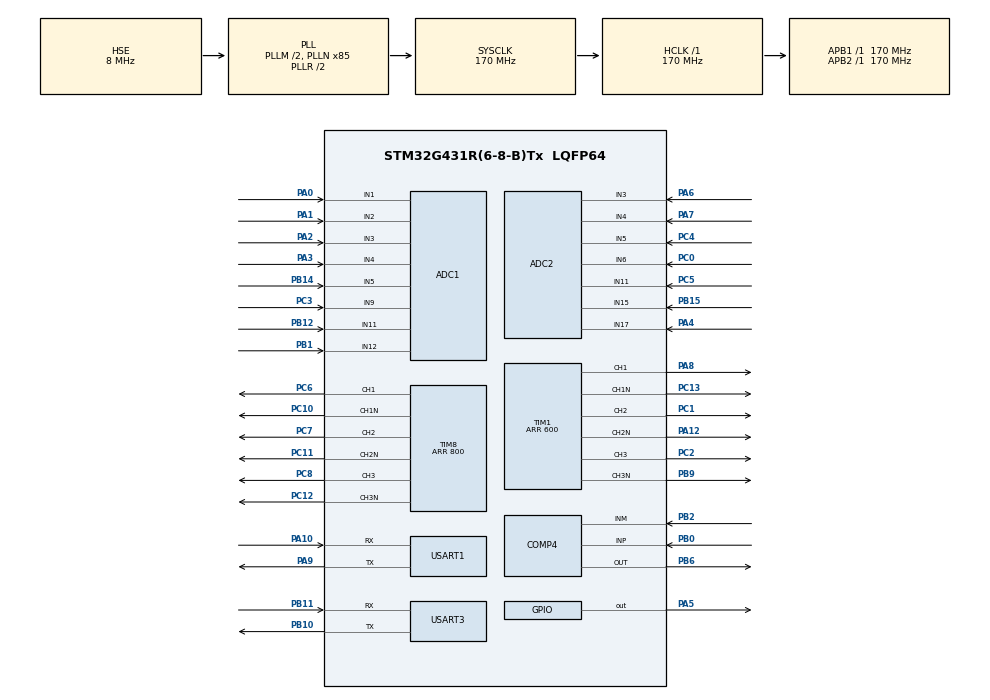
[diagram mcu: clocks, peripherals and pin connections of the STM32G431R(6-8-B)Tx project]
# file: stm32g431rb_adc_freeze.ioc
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ADC1.Channel-0\#ChannelRegularConversion=ADC_CHANNEL_1
ADC1.Channel-1\#ChannelRegularConversion=ADC_CHANNEL_2
ADC1.Channel-2\#ChannelRegularConversion=ADC_CHANNEL_3
ADC1.Channel-3\#ChannelRegularConversion=ADC_CHANNEL_4
ADC1.Channel-4\#ChannelRegularConversion=ADC_CHANNEL_5
ADC1.Channel-5\#ChannelRegularConversion=ADC_CHANNEL_9
ADC1.Channel-6\#ChannelRegularConversion=ADC_CHANNEL_11
ADC1.Channel-7\#ChannelRegularConversion=ADC_CHANNEL_12
ADC1.DMAContinuousRequests=ENABLE
ADC1.EOCSelection=ADC_EOC_SEQ_CONV
ADC1.ExternalTrigConv=ADC_EXTERNALTRIG_T1_TRGO
ADC1.NbrOfConversion=8
ADC1.NbrOfConversionFlag=1
ADC1.OffsetNumber-0\#ChannelRegularConversion=ADC_OFFSET_NONE
ADC1.OffsetNumber-1\#ChannelRegularConversion=ADC_OFFSET_NONE
ADC1.OffsetNumber-2\#ChannelRegularConversion=ADC_OFFSET_NONE
ADC1.OffsetNumber-3\#ChannelRegularConversion=ADC_OFFSET_NONE
ADC1.OffsetNumber-4\#ChannelRegularConversion=ADC_OFFSET_NONE
ADC1.OffsetNumber-5\#ChannelRegularConversion=ADC_OFFSET_NONE
ADC1.OffsetNumber-6\#ChannelRegularConversion=ADC_OFFSET_NONE
ADC1.OffsetNumber-7\#ChannelRegularConversion=ADC_OFFSET_NONE
ADC1.Rank-0\#ChannelRegularConversion=1
ADC1.Rank-1\#ChannelRegularConversion=2
ADC1.Rank-2\#ChannelRegularConversion=3
ADC1.Rank-3\#ChannelRegularConversion=4
ADC1.Rank-4\#ChannelRegularConversion=5
ADC1.Rank-5\#ChannelRegularConversion=6
ADC1.Rank-6\#ChannelRegularConversion=7
ADC1.Rank-7\#ChannelRegularConversion=8
ADC1.SamplingTime-0\#ChannelRegularConversion=ADC_SAMPLETIME_2CYCLES_5
ADC1.SamplingTime-1\#ChannelRegularConversion=ADC_SAMPLETIME_2CYCLES_5
ADC1.SamplingTime-2\#ChannelRegularConversion=ADC_SAMPLETIME_2CYCLES_5
ADC1.SamplingTime-3\#ChannelRegularConversion=ADC_SAMPLETIME_2CYCLES_5
ADC1.SamplingTime-4\#ChannelRegularConversion=ADC_SAMPLETIME_2CYCLES_5
ADC1.SamplingTime-5\#ChannelRegularConversion=ADC_SAMPLETIME_2CYCLES_5
ADC1.SamplingTime-6\#ChannelRegularConversion=ADC_SAMPLETIME_2CYCLES_5
ADC1.SamplingTime-7\#ChannelRegularConversion=ADC_SAMPLETIME_2CYCLES_5
ADC1.master=1
ADC2.Channel-0\#ChannelRegularConversion=ADC_CHANNEL_3
ADC2.Channel-1\#ChannelRegularConversion=ADC_CHANNEL_4
ADC2.Channel-2\#ChannelRegularConversion=ADC_CHANNEL_5
ADC2.Channel-3\#ChannelRegularConversion=ADC_CHANNEL_6
ADC2.Channel-4\#ChannelRegularConversion=ADC_CHANNEL_11
ADC2.Channel-5\#ChannelRegularConversion=ADC_CHANNEL_17
ADC2.Channel-6\#ChannelRegularConversion=ADC_CHANNEL_15
ADC2.DMAContinuousRequests=ENABLE
ADC2.EOCSelection=ADC_EOC_SEQ_CONV
ADC2.ExternalTrigConv=ADC_EXTERNALTRIG_T8_TRGO
ADC2.NbrOfConversion=7
ADC2.NbrOfConversionFlag=1
ADC2.OffsetNumber-0\#ChannelRegularConversion=ADC_OFFSET_NONE
ADC2.OffsetNumber-1\#ChannelRegularConversion=ADC_OFFSET_NONE
ADC2.OffsetNumber-2\#ChannelRegularConversion=ADC_OFFSET_NONE
ADC2.OffsetNumber-3\#ChannelRegularConversion=ADC_OFFSET_NONE
ADC2.OffsetNumber-4\#ChannelRegularConversion=ADC_OFFSET_NONE
ADC2.OffsetNumber-5\#ChannelRegularConversion=ADC_OFFSET_NONE
ADC2.OffsetNumber-6\#ChannelRegularConversion=ADC_OFFSET_NONE
ADC2.Rank-0\#ChannelRegularConversion=1
ADC2.Rank-1\#ChannelRegularConversion=2
ADC2.Rank-2\#ChannelRegularConversion=3
ADC2.Rank-3\#ChannelRegularConversion=4
ADC2.Rank-4\#ChannelRegularConversion=5
ADC2.Rank-5\#ChannelRegularConversion=6
ADC2.Rank-6\#ChannelRegularConversion=7
ADC2.SamplingTime-0\#ChannelRegularConversion=ADC_SAMPLETIME_2CYCLES_5
ADC2.SamplingTime-1\#ChannelRegularConversion=ADC_SAMPLETIME_2CYCLES_5
ADC2.SamplingTime-2\#ChannelRegularConversion=ADC_SAMPLETIME_2CYCLES_5
ADC2.SamplingTime-3\#ChannelRegularConversion=ADC_SAMPLETIME_2CYCLES_5
ADC2.SamplingTime-4\#ChannelRegularConversion=ADC_SAMPLETIME_2CYCLES_5
ADC2.SamplingTime-5\#ChannelRegularConversion=ADC_SAMPLETIME_2CYCLES_5
ADC2.SamplingTime-6\#ChannelRegularConversion=ADC_SAMPLETIME_2CYCLES_5
Dma.ADC1.0.Direction=DMA_PERIPH_TO_MEMORY
Dma.ADC1.0.EventEnable=DISABLE
Dma.ADC1.0.Instance=DMA1_Channel1
Dma.ADC1.0.MemDataAlignment=DMA_MDATAALIGN_HALFWORD
Dma.ADC1.0.MemInc=DMA_MINC_ENABLE
Dma.ADC1.0.Mode=DMA_CIRCULAR
Dma.ADC1.0.PeriphDataAlignment=DMA_PDATAALIGN_HALFWORD
Dma.ADC1.0.PeriphInc=DMA_PINC_DISABLE
Dma.ADC1.0.Polarity=HAL_DMAMUX_REQ_GEN_RISING
Dma.ADC1.0.Priority=DMA_PRIORITY_LOW
Dma.ADC1.0.RequestNumber=1
Dma.ADC1.0.SignalID=NONE
Dma.ADC1.0.SyncEnable=DISABLE
Dma.ADC1.0.SyncPolarity=HAL_DMAMUX_SYNC_NO_EVENT
Dma.ADC1.0.SyncRequestNumber=1
Dma.ADC1.0.SyncSignalID=NONE
Dma.ADC2.1.Direction=DMA_PERIPH_TO_MEMORY
Dma.ADC2.1.EventEnable=DISABLE
Dma.ADC2.1.Instance=DMA1_Channel2
Dma.ADC2.1.MemDataAlignment=DMA_MDATAALIGN_HALFWORD
Dma.ADC2.1.MemInc=DMA_MINC_ENABLE
Dma.ADC2.1.Mode=DMA_CIRCULAR
Dma.ADC2.1.PeriphDataAlignment=DMA_PDATAALIGN_HALFWORD
Dma.ADC2.1.PeriphInc=DMA_PINC_DISABLE
Dma.ADC2.1.Polarity=HAL_DMAMUX_REQ_GEN_RISING
Dma.ADC2.1.Priority=DMA_PRIORITY_LOW
Dma.ADC2.1.RequestNumber=1
Dma.ADC2.1.SignalID=NONE
Dma.ADC2.1.SyncEnable=DISABLE
Dma.ADC2.1.SyncPolarity=HAL_DMAMUX_SYNC_NO_EVENT
Dma.ADC2.1.SyncRequestNumber=1
Dma.ADC2.1.SyncSignalID=NONE
Dma.Request0=ADC1
Dma.Request1=ADC2
Mcu.Family=STM32G4
Mcu.Name=STM32G431R(6-8-B)Tx
Mcu.Package=LQFP64
NVIC.DMA1_Channel1_IRQn=true\:0\:0\:false\:false\:true\:false\:true\:true
NVIC.DMA1_Channel2_IRQn=true\:0\:0\:false\:false\:true\:false\:true\:true
NVIC.PriorityGroup=NVIC_PRIORITYGROUP_4
PA0.Mode=IN1-Single-Ended
PA0.Signal=ADC1_IN1
PA1.Mode=IN2-Single-Ended
PA1.Signal=ADC1_IN2
PA10.Mode=Asynchronous
PA10.Signal=USART1_RX
PA12.Mode=PWM Generation2 CH2 CH2N
PA12.Signal=TIM1_CH2N
PA2.Mode=IN3-Single-Ended
PA2.Signal=ADC1_IN3
PA3.Mode=IN4-Single-Ended
PA3.Signal=ADC1_IN4
PA4.Mode=IN17-Single-Ended
PA4.Signal=ADC2_IN17
PA5.Signal=GPIO_Output
PA6.Mode=IN3-Single-Ended
PA6.Signal=ADC2_IN3
PA7.Mode=IN4-Single-Ended
PA7.Signal=ADC2_IN4
PA8.Signal=S_TIM1_CH1
PA9.Mode=Asynchronous
PA9.Signal=USART1_TX
PB0.Mode=INP
PB0.Signal=COMP4_INP
PB1.Mode=IN12-Single-Ended
PB1.Signal=ADC1_IN12
PB10.Mode=Asynchronous
PB10.Signal=USART3_TX
PB11.Mode=Asynchronous
PB11.Signal=USART3_RX
PB12.Mode=IN11-Single-Ended
PB12.Signal=ADC1_IN11
PB14.Mode=IN5-Single-Ended
PB14.Signal=ADC1_IN5
PB15.Mode=IN15-Single-Ended
PB15.Signal=ADC2_IN15
PB2.Mode=INM
PB2.Signal=COMP4_INM
PB6.Mode=ExternalOutput
PB6.Signal=COMP4_OUT
PB9.Mode=PWM Generation3 CH3 CH3N
PB9.Signal=TIM1_CH3N
PC0.Mode=IN6-Single-Ended
PC0.Signal=ADC2_IN6
PC1.Signal=S_TIM1_CH2
PC10.Mode=PWM Generation1 CH1 CH1N
PC10.Signal=TIM8_CH1N
PC11.Mode=PWM Generation2 CH2 CH2N
PC11.Signal=TIM8_CH2N
PC12.Mode=PWM Generation3 CH3 CH3N
PC12.Signal=TIM8_CH3N
PC13.Mode=PWM Generation1 CH1 CH1N
PC13.Signal=TIM1_CH1N
PC2.Signal=S_TIM1_CH3
PC3.Mode=IN9-Single-Ended
PC3.Signal=ADC1_IN9
PC4.Mode=IN5-Single-Ended
PC4.Signal=ADC2_IN5
PC5.Mode=IN11-Single-Ended
PC5.Signal=ADC2_IN11
PC6.Signal=S_TIM8_CH1
PC7.Signal=S_TIM8_CH2
PC8.Signal=S_TIM8_CH3
PF0-OSC_IN.Mode=HSE-External-Oscillator
PF0-OSC_IN.Signal=RCC_OSC_IN
PF1-OSC_OUT.Mode=HSE-External-Oscillator
PF1-OSC_OUT.Signal=RCC_OSC_OUT
ProjectManager.HeapSize=0x200
ProjectManager.StackSize=0x400
ProjectManager.TargetToolchain=STM32CubeIDE
RCC.ADC12Freq_Value=170000000
RCC.AHBFreq_Value=170000000
RCC.APB1Freq_Value=170000000
RCC.APB1TimFreq_Value=170000000
RCC.APB2Freq_Value=170000000
RCC.APB2TimFreq_Value=170000000
RCC.CortexFreq_Value=170000000
RCC.EXTERNAL_CLOCK_VALUE=12288000
RCC.HCLKFreq_Value=170000000
RCC.HSI48_VALUE=48000000
RCC.HSI_VALUE=16000000
RCC.LSE_VALUE=32768
RCC.PLLM=RCC_PLLM_DIV2
RCC.PLLN=85
RCC.PLLSourceVirtual=RCC_PLLSOURCE_HSE
RCC.SYSCLKFreq_VALUE=170000000
RCC.SYSCLKSource=RCC_SYSCLKSOURCE_PLLCLK
RCC.USBFreq_Value=170000000
RCC.VCOOutputFreq_Value=340000000
SH.S_TIM1_CH1.0=TIM1_CH1,PWM Generation1 CH1 CH1N
SH.S_TIM1_CH2.0=TIM1_CH2,PWM Generation2 CH2 CH2N
SH.S_TIM1_CH3.0=TIM1_CH3,PWM Generation3 CH3 CH3N
SH.S_TIM8_CH1.0=TIM8_CH1,PWM Generation1 CH1 CH1N
SH.S_TIM8_CH2.0=TIM8_CH2,PWM Generation2 CH2 CH2N
SH.S_TIM8_CH3.0=TIM8_CH3,PWM Generation3 CH3 CH3N
TIM1.Channel-PWM\ Generation1\ CH1\ CH1N=TIM_CHANNEL_1
TIM1.Channel-PWM\ Generation2\ CH2\ CH2N=TIM_CHANNEL_2
TIM1.Channel-PWM\ Generation3\ CH3\ CH3N=TIM_CHANNEL_3
TIM1.CounterMode=TIM_COUNTERMODE_CENTERALIGNED1
TIM1.PeriodNoDither=600
TIM1.PulseNoDither_1=300
TIM1.TIM_MasterOutputTrigger=TIM_TRGO_OC1REF
TIM8.Channel-PWM\ Generation1\ CH1\ CH1N=TIM_CHANNEL_1
TIM8.Channel-PWM\ Generation2\ CH2\ CH2N=TIM_CHANNEL_2
TIM8.Channel-PWM\ Generation3\ CH3\ CH3N=TIM_CHANNEL_3
TIM8.CounterMode=TIM_COUNTERMODE_CENTERALIGNED1
TIM8.PeriodNoDither=800
TIM8.PulseNoDither_1=200
TIM8.PulseNoDither_2=350
TIM8.PulseNoDither_3=400
TIM8.TIM_MasterOutputTrigger=TIM_TRGO_OC1REF
USART1.VirtualMode-Asynchronous=VM_ASYNC
USART3.VirtualMode-Asynchronous=VM_ASYNC
VP_SYS_VS_DBSignals.Mode=DisableDeadBatterySignals
board=custom

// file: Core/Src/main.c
/* USER CODE BEGIN Header */
/**
  ******************************************************************************
  * @file           : main.c
  * @brief          : Main program body
  ******************************************************************************
  * @attention
  *
  * Copyright (c) 2024 STMicroelectronics.
  * All rights reserved.
  *
  * This software is licensed under terms that can be found in the LICENSE file
  * in the root directory of this software component.
  * If no LICENSE file comes with this software, it is provided AS-IS.
  *
  ******************************************************************************
  */
/* USER CODE END Header */
#include "main.h"

ADC_HandleTypeDef hadc1;
ADC_HandleTypeDef hadc2;
DMA_HandleTypeDef hdma_adc1;
DMA_HandleTypeDef hdma_adc2;

TIM_HandleTypeDef htim1;
TIM_HandleTypeDef htim8;

UART_HandleTypeDef huart1;
UART_HandleTypeDef huart3;

void SystemClock_Config(void);
static void MX_GPIO_Init(void);
static void MX_DMA_Init(void);
static void MX_ADC1_Init(void);
static void MX_TIM1_Init(void);
static void MX_TIM8_Init(void);
static void MX_ADC2_Init(void);
static void MX_COMP4_Init(void);
static void MX_USART1_UART_Init(void);
static void MX_USART3_UART_Init(void);
/* USER CODE BEGIN PFP */
int conversion1 = 0;
int conversion2 = 0;

void HAL_ADC_ConvCpltCallback(ADC_HandleTypeDef *hadc)
{
  if(hadc == &hadc1)
  {
    conversion1++;
  }
  else if(hadc == &hadc2)
  {
    conversion2++;
  }
}

static uint32_t RESET_REASON __attribute__((section(".csr_section"))) ;
/* USER CODE END PFP */

/* USER CODE BEGIN 0 */
uint16_t pAdc1Data[10];
uint16_t pAdc2Data[10];
/* USER CODE END 0 */

int main(void)
{

  /* USER CODE BEGIN 1 */
  RESET_REASON = RCC->CSR;
  LL_RCC_ClearResetFlags();
  /* USER CODE END 1 */

  /* MCU Configuration--------------------------------------------------------*/

  /* Reset of all peripherals, Initializes the Flash interface and the Systick. */
  HAL_Init();

  /* Configure the system clock */
  SystemClock_Config();

  /* Initialize all configured peripherals */
  MX_GPIO_Init();
  MX_DMA_Init();
  MX_ADC1_Init();
  MX_TIM1_Init();
  MX_TIM8_Init();
  MX_ADC2_Init();
  MX_COMP4_Init();
  MX_USART1_UART_Init();
  MX_USART3_UART_Init();
  /* USER CODE BEGIN 2 */
  if(HAL_ADCEx_Calibration_Start(&hadc1, ADC_SINGLE_ENDED) != HAL_OK)
  {
    Error_Handler();
  }

  if(HAL_ADCEx_Calibration_Start(&hadc2, ADC_SINGLE_ENDED) != HAL_OK)
  {
    Error_Handler();
  }

  if(HAL_ADC_Start_DMA(&hadc1, (uint32_t *)pAdc1Data, hadc1.Init.NbrOfConversion) != HAL_OK)
  {
    Error_Handler();
  }

  if(HAL_ADC_Start_DMA(&hadc2, (uint32_t *)pAdc2Data, hadc2.Init.NbrOfConversion) != HAL_OK)
  {
    Error_Handler();
  }

  //__HAL_DMA_DISABLE_IT(&hadc1)->DMA_Handle, DMA_IT_HT);
  //__HAL_DMA_DISABLE_IT(&hadc2->DMA_Handle, DMA_IT_HT);

  HAL_TIM_PWM_Start(&htim1, TIM_CHANNEL_1);
  HAL_TIM_PWM_Start(&htim1, TIM_CHANNEL_2);
  HAL_TIM_PWM_Start(&htim1, TIM_CHANNEL_3);

  HAL_TIM_PWM_Start(&htim8, TIM_CHANNEL_1);
  HAL_TIM_PWM_Start(&htim8, TIM_CHANNEL_2);
  HAL_TIM_PWM_Start(&htim8, TIM_CHANNEL_3);

  /* USER CODE END 2 */

  /* Infinite loop */
  /* USER CODE BEGIN WHILE */
  for(int i=0; i<10; i++)
  {
    HAL_GPIO_TogglePin(GPIOA, GPIO_PIN_5);
    HAL_Delay(100);
  }

  while (1)
  {
    HAL_GPIO_TogglePin(GPIOA, GPIO_PIN_5);
    HAL_Delay(500);
    /* USER CODE END WHILE */

  }
}

void SystemClock_Config(void)
{
  RCC_OscInitTypeDef RCC_OscInitStruct = {0};
  RCC_ClkInitTypeDef RCC_ClkInitStruct = {0};

  /** Configure the main internal regulator output voltage
  */
  HAL_PWREx_ControlVoltageScaling(PWR_REGULATOR_VOLTAGE_SCALE1_BOOST);

  /** Initializes the RCC Oscillators according to the specified parameters
  * in the RCC_OscInitTypeDef structure.
  */
  RCC_OscInitStruct.OscillatorType = RCC_OSCILLATORTYPE_HSE;
  RCC_OscInitStruct.HSEState = RCC_HSE_ON;
  RCC_OscInitStruct.PLL.PLLState = RCC_PLL_ON;
  RCC_OscInitStruct.PLL.PLLSource = RCC_PLLSOURCE_HSE;
  RCC_OscInitStruct.PLL.PLLM = RCC_PLLM_DIV2;
  RCC_OscInitStruct.PLL.PLLN = 85;
  RCC_OscInitStruct.PLL.PLLP = RCC_PLLP_DIV2;
  RCC_OscInitStruct.PLL.PLLQ = RCC_PLLQ_DIV2;
  RCC_OscInitStruct.PLL.PLLR = RCC_PLLR_DIV2;
  if (HAL_RCC_OscConfig(&RCC_OscInitStruct) != HAL_OK)
  {
    Error_Handler();
  }

  /** Initializes the CPU, AHB and APB buses clocks
  */
  RCC_ClkInitStruct.ClockType = RCC_CLOCKTYPE_HCLK|RCC_CLOCKTYPE_SYSCLK
                              |RCC_CLOCKTYPE_PCLK1|RCC_CLOCKTYPE_PCLK2;
  RCC_ClkInitStruct.SYSCLKSource = RCC_SYSCLKSOURCE_PLLCLK;
  RCC_ClkInitStruct.AHBCLKDivider = RCC_SYSCLK_DIV1;
  RCC_ClkInitStruct.APB1CLKDivider = RCC_HCLK_DIV1;
  RCC_ClkInitStruct.APB2CLKDivider = RCC_HCLK_DIV1;

  if (HAL_RCC_ClockConfig(&RCC_ClkInitStruct, FLASH_LATENCY_4) != HAL_OK)
  {
    Error_Handler();
  }
}

static void MX_ADC1_Init(void)
{

  ADC_MultiModeTypeDef multimode = {0};
  ADC_ChannelConfTypeDef sConfig = {0};

  /** Common config
  */
  hadc1.Instance = ADC1;
  hadc1.Init.ClockPrescaler = ADC_CLOCK_SYNC_PCLK_DIV4;
  hadc1.Init.Resolution = ADC_RESOLUTION_12B;
  hadc1.Init.DataAlign = ADC_DATAALIGN_RIGHT;
  hadc1.Init.GainCompensation = 0;
  hadc1.Init.ScanConvMode = ADC_SCAN_ENABLE;
  hadc1.Init.EOCSelection = ADC_EOC_SEQ_CONV;
  hadc1.Init.LowPowerAutoWait = DISABLE;
  hadc1.Init.ContinuousConvMode = DISABLE;
  hadc1.Init.NbrOfConversion = 8;
  hadc1.Init.DiscontinuousConvMode = DISABLE;
  hadc1.Init.ExternalTrigConv = ADC_EXTERNALTRIG_T1_TRGO;
  hadc1.Init.ExternalTrigConvEdge = ADC_EXTERNALTRIGCONVEDGE_RISING;
  hadc1.Init.DMAContinuousRequests = ENABLE;
  hadc1.Init.Overrun = ADC_OVR_DATA_PRESERVED;
  hadc1.Init.OversamplingMode = DISABLE;
  if (HAL_ADC_Init(&hadc1) != HAL_OK)
  {
    Error_Handler();
  }

  /** Configure the ADC multi-mode
  */
  multimode.Mode = ADC_MODE_INDEPENDENT;
  if (HAL_ADCEx_MultiModeConfigChannel(&hadc1, &multimode) != HAL_OK)
  {
    Error_Handler();
  }

  /** Configure Regular Channel
  */
  sConfig.Channel = ADC_CHANNEL_1;
  sConfig.Rank = ADC_REGULAR_RANK_1;
  sConfig.SamplingTime = ADC_SAMPLETIME_2CYCLES_5;
  sConfig.SingleDiff = ADC_SINGLE_ENDED;
  sConfig.OffsetNumber = ADC_OFFSET_NONE;
  sConfig.Offset = 0;
  if (HAL_ADC_ConfigChannel(&hadc1, &sConfig) != HAL_OK)
  {
    Error_Handler();
  }

  /** Configure Regular Channel
  */
  sConfig.Channel = ADC_CHANNEL_2;
  sConfig.Rank = ADC_REGULAR_RANK_2;
  if (HAL_ADC_ConfigChannel(&hadc1, &sConfig) != HAL_OK)
  {
    Error_Handler();
  }

  /** Configure Regular Channel
  */
  sConfig.Channel = ADC_CHANNEL_3;
  sConfig.Rank = ADC_REGULAR_RANK_3;
  if (HAL_ADC_ConfigChannel(&hadc1, &sConfig) != HAL_OK)
  {
    Error_Handler();
  }

  /** Configure Regular Channel
  */
  sConfig.Channel = ADC_CHANNEL_4;
  sConfig.Rank = ADC_REGULAR_RANK_4;
  if (HAL_ADC_ConfigChannel(&hadc1, &sConfig) != HAL_OK)
  {
    Error_Handler();
  }

  /** Configure Regular Channel
  */
  sConfig.Channel = ADC_CHANNEL_5;
  sConfig.Rank = ADC_REGULAR_RANK_5;
  if (HAL_ADC_ConfigChannel(&hadc1, &sConfig) != HAL_OK)
  {
    Error_Handler();
  }

  /** Configure Regular Channel
  */
  sConfig.Channel = ADC_CHANNEL_9;
  sConfig.Rank = ADC_REGULAR_RANK_6;
  if (HAL_ADC_ConfigChannel(&hadc1, &sConfig) != HAL_OK)
  {
    Error_Handler();
  }

  /** Configure Regular Channel
  */
  sConfig.Channel = ADC_CHANNEL_11;
  sConfig.Rank = ADC_REGULAR_RANK_7;
  if (HAL_ADC_ConfigChannel(&hadc1, &sConfig) != HAL_OK)
  {
    Error_Handler();
  }

  /** Configure Regular Channel
  */
  sConfig.Channel = ADC_CHANNEL_12;
  sConfig.Rank = ADC_REGULAR_RANK_8;
  if (HAL_ADC_ConfigChannel(&hadc1, &sConfig) != HAL_OK)
  {
    Error_Handler();
  }

}

static void MX_ADC2_Init(void)
{

  ADC_ChannelConfTypeDef sConfig = {0};

  /** Common config
  */
  hadc2.Instance = ADC2;
  hadc2.Init.ClockPrescaler = ADC_CLOCK_SYNC_PCLK_DIV4;
  hadc2.Init.Resolution = ADC_RESOLUTION_12B;
  hadc2.Init.DataAlign = ADC_DATAALIGN_RIGHT;
  hadc2.Init.GainCompensation = 0;
  hadc2.Init.ScanConvMode = ADC_SCAN_ENABLE;
  hadc2.Init.EOCSelection = ADC_EOC_SEQ_CONV;
  hadc2.Init.LowPowerAutoWait = DISABLE;
  hadc2.Init.ContinuousConvMode = DISABLE;
  hadc2.Init.NbrOfConversion = 7;
  hadc2.Init.DiscontinuousConvMode = DISABLE;
  hadc2.Init.ExternalTrigConv = ADC_EXTERNALTRIG_T8_TRGO;
  hadc2.Init.ExternalTrigConvEdge = ADC_EXTERNALTRIGCONVEDGE_RISING;
  hadc2.Init.DMAContinuousRequests = ENABLE;
  hadc2.Init.Overrun = ADC_OVR_DATA_PRESERVED;
  hadc2.Init.OversamplingMode = DISABLE;
  if (HAL_ADC_Init(&hadc2) != HAL_OK)
  {
    Error_Handler();
  }

  /** Configure Regular Channel
  */
  sConfig.Channel = ADC_CHANNEL_3;
  sConfig.Rank = ADC_REGULAR_RANK_1;
  sConfig.SamplingTime = ADC_SAMPLETIME_2CYCLES_5;
  sConfig.SingleDiff = ADC_SINGLE_ENDED;
  sConfig.OffsetNumber = ADC_OFFSET_NONE;
  sConfig.Offset = 0;
  if (HAL_ADC_ConfigChannel(&hadc2, &sConfig) != HAL_OK)
  {
    Error_Handler();
  }

  /** Configure Regular Channel
  */
  sConfig.Channel = ADC_CHANNEL_4;
  sConfig.Rank = ADC_REGULAR_RANK_2;
  if (HAL_ADC_ConfigChannel(&hadc2, &sConfig) != HAL_OK)
  {
    Error_Handler();
  }

  /** Configure Regular Channel
  */
  sConfig.Channel = ADC_CHANNEL_5;
  sConfig.Rank = ADC_REGULAR_RANK_3;
  if (HAL_ADC_ConfigChannel(&hadc2, &sConfig) != HAL_OK)
  {
    Error_Handler();
  }

  /** Configure Regular Channel
  */
  sConfig.Channel = ADC_CHANNEL_6;
  sConfig.Rank = ADC_REGULAR_RANK_4;
  if (HAL_ADC_ConfigChannel(&hadc2, &sConfig) != HAL_OK)
  {
    Error_Handler();
  }

  /** Configure Regular Channel
  */
  sConfig.Channel = ADC_CHANNEL_11;
  sConfig.Rank = ADC_REGULAR_RANK_5;
  if (HAL_ADC_ConfigChannel(&hadc2, &sConfig) != HAL_OK)
  {
    Error_Handler();
  }

  /** Configure Regular Channel
  */
  sConfig.Channel = ADC_CHANNEL_17;
  sConfig.Rank = ADC_REGULAR_RANK_6;
  if (HAL_ADC_ConfigChannel(&hadc2, &sConfig) != HAL_OK)
  {
    Error_Handler();
  }

  /** Configure Regular Channel
  */
  sConfig.Channel = ADC_CHANNEL_15;
  sConfig.Rank = ADC_REGULAR_RANK_7;
  if (HAL_ADC_ConfigChannel(&hadc2, &sConfig) != HAL_OK)
  {
    Error_Handler();
  }

}

static void MX_COMP4_Init(void)
{

  LL_COMP_InitTypeDef COMP_InitStruct = {0};

  LL_GPIO_InitTypeDef GPIO_InitStruct = {0};

  LL_AHB2_GRP1_EnableClock(LL_AHB2_GRP1_PERIPH_GPIOB);
  /**COMP4 GPIO Configuration
  PB0   ------> COMP4_INP
  PB2   ------> COMP4_INM
  PB6   ------> COMP4_OUT
  */
  GPIO_InitStruct.Pin = LL_GPIO_PIN_0;
  GPIO_InitStruct.Mode = LL_GPIO_MODE_ANALOG;
  GPIO_InitStruct.Pull = LL_GPIO_PULL_NO;
  LL_GPIO_Init(GPIOB, &GPIO_InitStruct);

  GPIO_InitStruct.Pin = LL_GPIO_PIN_2;
  GPIO_InitStruct.Mode = LL_GPIO_MODE_ANALOG;
  GPIO_InitStruct.Pull = LL_GPIO_PULL_NO;
  LL_GPIO_Init(GPIOB, &GPIO_InitStruct);

  GPIO_InitStruct.Pin = LL_GPIO_PIN_6;
  GPIO_InitStruct.Mode = LL_GPIO_MODE_ALTERNATE;
  GPIO_InitStruct.Speed = LL_GPIO_SPEED_FREQ_LOW;
  GPIO_InitStruct.OutputType = LL_GPIO_OUTPUT_PUSHPULL;
  GPIO_InitStruct.Pull = LL_GPIO_PULL_NO;
  GPIO_InitStruct.Alternate = LL_GPIO_AF_8;
  LL_GPIO_Init(GPIOB, &GPIO_InitStruct);

  COMP_InitStruct.InputPlus = LL_COMP_INPUT_PLUS_IO1;
  COMP_InitStruct.InputMinus = LL_COMP_INPUT_MINUS_IO2;
  COMP_InitStruct.InputHysteresis = LL_COMP_HYSTERESIS_NONE;
  COMP_InitStruct.OutputPolarity = LL_COMP_OUTPUTPOL_NONINVERTED;
  COMP_InitStruct.OutputBlankingSource = LL_COMP_BLANKINGSRC_NONE;
  LL_COMP_Init(COMP4, &COMP_InitStruct);

  /* Wait loop initialization and execution */
  /* Note: Variable divided by 2 to compensate partially CPU processing cycles */
  __IO uint32_t wait_loop_index = 0;
  wait_loop_index = (LL_COMP_DELAY_VOLTAGE_SCALER_STAB_US * (SystemCoreClock / (1000000 * 2)));
  while(wait_loop_index != 0)
  {
    wait_loop_index--;
  }
  LL_EXTI_DisableEvent_0_31(LL_EXTI_LINE_30);
  LL_EXTI_DisableIT_0_31(LL_EXTI_LINE_30);

}

static void MX_TIM1_Init(void)
{

  TIM_MasterConfigTypeDef sMasterConfig = {0};
  TIM_OC_InitTypeDef sConfigOC = {0};
  TIM_BreakDeadTimeConfigTypeDef sBreakDeadTimeConfig = {0};

  htim1.Instance = TIM1;
  htim1.Init.Prescaler = 0;
  htim1.Init.CounterMode = TIM_COUNTERMODE_CENTERALIGNED1;
  htim1.Init.Period = 600;
  htim1.Init.ClockDivision = TIM_CLOCKDIVISION_DIV1;
  htim1.Init.RepetitionCounter = 0;
  htim1.Init.AutoReloadPreload = TIM_AUTORELOAD_PRELOAD_DISABLE;
  if (HAL_TIM_PWM_Init(&htim1) != HAL_OK)
  {
    Error_Handler();
  }
  sMasterConfig.MasterOutputTrigger = TIM_TRGO_OC1REF;
  sMasterConfig.MasterOutputTrigger2 = TIM_TRGO2_RESET;
  sMasterConfig.MasterSlaveMode = TIM_MASTERSLAVEMODE_DISABLE;
  if (HAL_TIMEx_MasterConfigSynchronization(&htim1, &sMasterConfig) != HAL_OK)
  {
    Error_Handler();
  }
  sConfigOC.OCMode = TIM_OCMODE_PWM1;
  sConfigOC.Pulse = 300;
  sConfigOC.OCPolarity = TIM_OCPOLARITY_HIGH;
  sConfigOC.OCNPolarity = TIM_OCNPOLARITY_HIGH;
  sConfigOC.OCFastMode = TIM_OCFAST_DISABLE;
  sConfigOC.OCIdleState = TIM_OCIDLESTATE_RESET;
  sConfigOC.OCNIdleState = TIM_OCNIDLESTATE_RESET;
  if (HAL_TIM_PWM_ConfigChannel(&htim1, &sConfigOC, TIM_CHANNEL_1) != HAL_OK)
  {
    Error_Handler();
  }
  sConfigOC.Pulse = 0;
  if (HAL_TIM_PWM_ConfigChannel(&htim1, &sConfigOC, TIM_CHANNEL_2) != HAL_OK)
  {
    Error_Handler();
  }
  if (HAL_TIM_PWM_ConfigChannel(&htim1, &sConfigOC, TIM_CHANNEL_3) != HAL_OK)
  {
    Error_Handler();
  }
  sBreakDeadTimeConfig.OffStateRunMode = TIM_OSSR_DISABLE;
  sBreakDeadTimeConfig.OffStateIDLEMode = TIM_OSSI_DISABLE;
  sBreakDeadTimeConfig.LockLevel = TIM_LOCKLEVEL_OFF;
  sBreakDeadTimeConfig.DeadTime = 0;
  sBreakDeadTimeConfig.BreakState = TIM_BREAK_DISABLE;
  sBreakDeadTimeConfig.BreakPolarity = TIM_BREAKPOLARITY_HIGH;
  sBreakDeadTimeConfig.BreakFilter = 0;
  sBreakDeadTimeConfig.BreakAFMode = TIM_BREAK_AFMODE_INPUT;
  sBreakDeadTimeConfig.Break2State = TIM_BREAK2_DISABLE;
  sBreakDeadTimeConfig.Break2Polarity = TIM_BREAK2POLARITY_HIGH;
  sBreakDeadTimeConfig.Break2Filter = 0;
  sBreakDeadTimeConfig.Break2AFMode = TIM_BREAK_AFMODE_INPUT;
  sBreakDeadTimeConfig.AutomaticOutput = TIM_AUTOMATICOUTPUT_DISABLE;
  if (HAL_TIMEx_ConfigBreakDeadTime(&htim1, &sBreakDeadTimeConfig) != HAL_OK)
  {
    Error_Handler();
  }
  HAL_TIM_MspPostInit(&htim1);

}

static void MX_TIM8_Init(void)
{

  TIM_MasterConfigTypeDef sMasterConfig = {0};
  TIM_OC_InitTypeDef sConfigOC = {0};
  TIM_BreakDeadTimeConfigTypeDef sBreakDeadTimeConfig = {0};

  htim8.Instance = TIM8;
  htim8.Init.Prescaler = 0;
  htim8.Init.CounterMode = TIM_COUNTERMODE_CENTERALIGNED1;
  htim8.Init.Period = 800;
  htim8.Init.ClockDivision = TIM_CLOCKDIVISION_DIV1;
  htim8.Init.RepetitionCounter = 0;
  htim8.Init.AutoReloadPreload = TIM_AUTORELOAD_PRELOAD_DISABLE;
  if (HAL_TIM_PWM_Init(&htim8) != HAL_OK)
  {
    Error_Handler();
  }
  sMasterConfig.MasterOutputTrigger = TIM_TRGO_OC1REF;
  sMasterConfig.MasterOutputTrigger2 = TIM_TRGO2_RESET;
  sMasterConfig.MasterSlaveMode = TIM_MASTERSLAVEMODE_DISABLE;
  if (HAL_TIMEx_MasterConfigSynchronization(&htim8, &sMasterConfig) != HAL_OK)
  {
    Error_Handler();
  }
  sConfigOC.OCMode = TIM_OCMODE_PWM1;
  sConfigOC.Pulse = 200;
  sConfigOC.OCPolarity = TIM_OCPOLARITY_HIGH;
  sConfigOC.OCNPolarity = TIM_OCNPOLARITY_HIGH;
  sConfigOC.OCFastMode = TIM_OCFAST_DISABLE;
  sConfigOC.OCIdleState = TIM_OCIDLESTATE_RESET;
  sConfigOC.OCNIdleState = TIM_OCNIDLESTATE_RESET;
  if (HAL_TIM_PWM_ConfigChannel(&htim8, &sConfigOC, TIM_CHANNEL_1) != HAL_OK)
  {
    Error_Handler();
  }
  sConfigOC.Pulse = 350;
  if (HAL_TIM_PWM_ConfigChannel(&htim8, &sConfigOC, TIM_CHANNEL_2) != HAL_OK)
  {
    Error_Handler();
  }
  sConfigOC.Pulse = 400;
  if (HAL_TIM_PWM_ConfigChannel(&htim8, &sConfigOC, TIM_CHANNEL_3) != HAL_OK)
  {
    Error_Handler();
  }
  sBreakDeadTimeConfig.OffStateRunMode = TIM_OSSR_DISABLE;
  sBreakDeadTimeConfig.OffStateIDLEMode = TIM_OSSI_DISABLE;
  sBreakDeadTimeConfig.LockLevel = TIM_LOCKLEVEL_OFF;
  sBreakDeadTimeConfig.DeadTime = 0;
  sBreakDeadTimeConfig.BreakState = TIM_BREAK_DISABLE;
  sBreakDeadTimeConfig.BreakPolarity = TIM_BREAKPOLARITY_HIGH;
  sBreakDeadTimeConfig.BreakFilter = 0;
  sBreakDeadTimeConfig.BreakAFMode = TIM_BREAK_AFMODE_INPUT;
  sBreakDeadTimeConfig.Break2State = TIM_BREAK2_DISABLE;
  sBreakDeadTimeConfig.Break2Polarity = TIM_BREAK2POLARITY_HIGH;
  sBreakDeadTimeConfig.Break2Filter = 0;
  sBreakDeadTimeConfig.Break2AFMode = TIM_BREAK_AFMODE_INPUT;
  sBreakDeadTimeConfig.AutomaticOutput = TIM_AUTOMATICOUTPUT_DISABLE;
  if (HAL_TIMEx_ConfigBreakDeadTime(&htim8, &sBreakDeadTimeConfig) != HAL_OK)
  {
    Error_Handler();
  }
  HAL_TIM_MspPostInit(&htim8);

}

static void MX_USART1_UART_Init(void)
{

  huart1.Instance = USART1;
  huart1.Init.BaudRate = 115200;
  huart1.Init.WordLength = UART_WORDLENGTH_8B;
  huart1.Init.StopBits = UART_STOPBITS_1;
  huart1.Init.Parity = UART_PARITY_NONE;
  huart1.Init.Mode = UART_MODE_TX_RX;
  huart1.Init.HwFlowCtl = UART_HWCONTROL_NONE;
  huart1.Init.OverSampling = UART_OVERSAMPLING_16;
  huart1.Init.OneBitSampling = UART_ONE_BIT_SAMPLE_DISABLE;
  huart1.Init.ClockPrescaler = UART_PRESCALER_DIV1;
  huart1.AdvancedInit.AdvFeatureInit = UART_ADVFEATURE_NO_INIT;
  if (HAL_UART_Init(&huart1) != HAL_OK)
  {
    Error_Handler();
  }
  if (HAL_UARTEx_SetTxFifoThreshold(&huart1, UART_TXFIFO_THRESHOLD_1_8) != HAL_OK)
  {
    Error_Handler();
  }
  if (HAL_UARTEx_SetRxFifoThreshold(&huart1, UART_RXFIFO_THRESHOLD_1_8) != HAL_OK)
  {
    Error_Handler();
  }
  if (HAL_UARTEx_DisableFifoMode(&huart1) != HAL_OK)
  {
    Error_Handler();
  }

}

static void MX_USART3_UART_Init(void)
{

  huart3.Instance = USART3;
  huart3.Init.BaudRate = 115200;
  huart3.Init.WordLength = UART_WORDLENGTH_8B;
  huart3.Init.StopBits = UART_STOPBITS_1;
  huart3.Init.Parity = UART_PARITY_NONE;
  huart3.Init.Mode = UART_MODE_TX_RX;
  huart3.Init.HwFlowCtl = UART_HWCONTROL_NONE;
  huart3.Init.OverSampling = UART_OVERSAMPLING_16;
  huart3.Init.OneBitSampling = UART_ONE_BIT_SAMPLE_DISABLE;
  huart3.Init.ClockPrescaler = UART_PRESCALER_DIV1;
  huart3.AdvancedInit.AdvFeatureInit = UART_ADVFEATURE_NO_INIT;
  if (HAL_UART_Init(&huart3) != HAL_OK)
  {
    Error_Handler();
  }
  if (HAL_UARTEx_SetTxFifoThreshold(&huart3, UART_TXFIFO_THRESHOLD_1_8) != HAL_OK)
  {
    Error_Handler();
  }
  if (HAL_UARTEx_SetRxFifoThreshold(&huart3, UART_RXFIFO_THRESHOLD_1_8) != HAL_OK)
  {
    Error_Handler();
  }
  if (HAL_UARTEx_DisableFifoMode(&huart3) != HAL_OK)
  {
    Error_Handler();
  }

}

static void MX_DMA_Init(void)
{

  /* DMA controller clock enable */
  __HAL_RCC_DMAMUX1_CLK_ENABLE();
  __HAL_RCC_DMA1_CLK_ENABLE();

  /* DMA interrupt init */
  /* DMA1_Channel1_IRQn interrupt configuration */
  HAL_NVIC_SetPriority(DMA1_Channel1_IRQn, 0, 0);
  HAL_NVIC_EnableIRQ(DMA1_Channel1_IRQn);
  /* DMA1_Channel2_IRQn interrupt configuration */
  HAL_NVIC_SetPriority(DMA1_Channel2_IRQn, 0, 0);
  HAL_NVIC_EnableIRQ(DMA1_Channel2_IRQn);

}

static void MX_GPIO_Init(void)
{
  GPIO_InitTypeDef GPIO_InitStruct = {0};

  /* GPIO Ports Clock Enable */
  __HAL_RCC_GPIOC_CLK_ENABLE();
  __HAL_RCC_GPIOF_CLK_ENABLE();
  __HAL_RCC_GPIOA_CLK_ENABLE();
  __HAL_RCC_GPIOB_CLK_ENABLE();

  /*Configure GPIO pin Output Level */
  HAL_GPIO_WritePin(GPIOA, GPIO_PIN_5, GPIO_PIN_RESET);

  /*Configure GPIO pin : PA5 */
  GPIO_InitStruct.Pin = GPIO_PIN_5;
  GPIO_InitStruct.Mode = GPIO_MODE_OUTPUT_PP;
  GPIO_InitStruct.Pull = GPIO_NOPULL;
  GPIO_InitStruct.Speed = GPIO_SPEED_FREQ_LOW;
  HAL_GPIO_Init(GPIOA, &GPIO_InitStruct);

}

void Error_Handler(void)
{
  __disable_irq();
  while (1)
  {
  }
}
